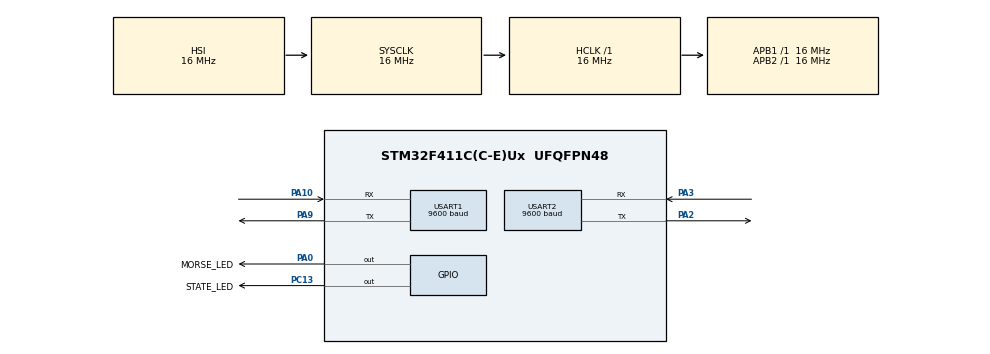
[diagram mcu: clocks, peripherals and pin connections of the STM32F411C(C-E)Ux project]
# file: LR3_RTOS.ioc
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Mcu.Family=STM32F4
Mcu.Name=STM32F411C(C-E)Ux
Mcu.Package=UFQFPN48
NVIC.PriorityGroup=NVIC_PRIORITYGROUP_4
PA0-WKUP.GPIO_Label=MORSE_LED
PA0-WKUP.Signal=GPIO_Output
PA10.Mode=Asynchronous
PA10.Signal=USART1_RX
PA2.Mode=Asynchronous
PA2.Signal=USART2_TX
PA3.Mode=Asynchronous
PA3.Signal=USART2_RX
PA9.Mode=Asynchronous
PA9.Signal=USART1_TX
PC13-ANTI_TAMP.GPIO_Label=STATE_LED
PC13-ANTI_TAMP.Signal=GPIO_Output
ProjectManager.HeapSize=0x200
ProjectManager.StackSize=0x400
ProjectManager.TargetToolchain=MDK-ARM V5.32
RCC.AHBFreq_Value=16000000
RCC.APB1Freq_Value=16000000
RCC.APB2Freq_Value=16000000
RCC.CortexFreq_Value=16000000
RCC.HSE_VALUE=25000000
RCC.HSI_VALUE=16000000
RCC.LSE_VALUE=32768
RCC.SYSCLKFreq_VALUE=16000000
RCC.VCOOutputFreq_Value=192000000
USART1.BaudRate=9600
USART1.VirtualMode=VM_ASYNC
USART2.BaudRate=9600
USART2.VirtualMode=VM_ASYNC
board=custom

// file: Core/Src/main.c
/* USER CODE BEGIN Header */

/*Лабораторна робота №3  Програмування порту USART (UART) мікроконтролера з
використанням бібліотек CMSIS на основі патерну «стан» з
урахуванням реального часу. */

	// Підключення: 1 GND - [-MORSE_LED+] - [резистор 325R] - PA0
    //              2 GND - [-STATE_LED+] - [резистор 325R] - PC13
	//              3 [USART2_TX] (PA2) - [USART1_RX] (PA10)
	//              4 [USART2_RX] (PA3) - [USART1_TX] (PA9)

/* USER CODE END Header */
#include "main.h"

/* USER CODE BEGIN PTD */

typedef enum {
    MORSE_IDLE,       // Очікування нового символу для обробки
    MORSE_NEXT_CHAR,	// Підготовка наступного елемента (точки чи тире) у символі
    MORSE_SIGNAL_ON,	// Стан, коли світлодіод світиться
    MORSE_SIGNAL_OFF, // Пауза між точками/тире всередині однієї літери
    MORSE_WAIT_LETTER // Пауза після завершення всієї літери
} MorseState_t;

/* USER CODE END PTD */

UART_HandleTypeDef huart1;
UART_HandleTypeDef huart2;

/* USER CODE BEGIN PV */
uint8_t msg[] = "Test2"; 		// Пауза після завершення всієї літери
uint8_t tx_index = 0;  			// Індекс поточного символу для передачі
uint32_t last_tx_time = 0;  // Змінна для відстеження часу останньої передачі

// Буфер для прийому
uint8_t rx_buffer[16];			// Кільцевий буфер для зберігання прийнятих байтів
uint8_t rx_read_ptr = 0;		// Вказівник читання з буфера
uint8_t rx_write_ptr = 0; 	// Вказівник запису в буфер

// Налаштування таймінгів Морзе (в мс)
#define UNIT 200 													 // Базова одиниця часу (200 мс) для азбуки Морзе
MorseState_t currentState = MORSE_IDLE;		 // Початковий стан автомата
char const *currentPattern = ""; 					 // Поточна послідовність точок/тире
uint8_t patternIdx = 0;									   // Яку саме точку чи тире ми зараз відтворюємо
uint32_t stateTimer = 0;									 // Таймер для відліку тривалості спалахів та пауз

/* USER CODE END PV */

void SystemClock_Config(void);
static void MX_GPIO_Init(void);
static void MX_USART1_UART_Init(void);
static void MX_USART2_UART_Init(void);

/* USER CODE BEGIN 0 */

/* Функція отримання кодів Морзе */
const char* GetMorseCode(char c) {
    switch (c) {
        case 'T': case 't': return "-";
        case 'E': case 'e': return ".";
        case 'S': case 's': return "...";
        case '2': return "..---";
        default: return "";
			/*при бажанні, можна додати весь алфавіт та цифри*/
    }
}

/* USER CODE END 0 */

int main(void)
{

  /* MCU Configuration--------------------------------------------------------*/

  /* Reset of all peripherals, Initializes the Flash interface and the Systick. */
  HAL_Init();

  /* Configure the system clock */
  SystemClock_Config();

  /* Initialize all configured peripherals */
  MX_GPIO_Init();
  MX_USART1_UART_Init();
  MX_USART2_UART_Init();

  /* Infinite loop */
  while (1)
  {

    /* USER CODE BEGIN 3 */

		/* --- 1. ПЕРЕДАЧА (USART2) за патерном Стан/Час --- */
        if (HAL_GetTick() - last_tx_time >= 500) {
            // Перевірка регістра стану (SR) через CMSIS: чи готовий передавач (TXE)
					if (USART2->SR & USART_SR_TXE) { // Прапор TXE показуэ чи порожній апаратний буфер передавача
                USART2->DR = msg[tx_index++]; // Запис у регістр даних
                if (tx_index >= sizeof(msg) - 1) { // Якщо передали весь рядок
                    tx_index = 0;	// Скидаємо індекс на початок
                    last_tx_time = HAL_GetTick(); // Пауза 500мс після всього рядка
                }
            }
        }

        /* --- 2. ПРИЙОМ (USART1) через CMSIS --- */
        // Перевірка чи прийшов байт (RXNE - Receive Not Empty)
        if (USART1->SR & USART_SR_RXNE) { // Якщо прапор RXNE = 1 (дані прийшли)
            uint8_t received = USART1->DR; // Зчитування з регістра даних автоматично скидає прапор RXNE, готуючи його до наступного символу.
            rx_buffer[rx_write_ptr++] = received; // Записуємо в наш буфер
            if (rx_write_ptr >= 16) rx_write_ptr = 0; // Зациклюємо буфер (кільцевий тип)
        }

        /* --- 3. АВТОМАТ СТАНІВ МОРЗЕ (PD13) --- */
        switch (currentState) {
            case MORSE_IDLE:
                if (rx_read_ptr != rx_write_ptr) { // Якщо в буфері є дані, беремо символ
                    HAL_GPIO_WritePin(STATE_LED_GPIO_Port, STATE_LED_Pin, GPIO_PIN_SET);

										char c = rx_buffer[rx_read_ptr++]; // Беремо символ
                    if (rx_read_ptr >= 16) rx_read_ptr = 0;
                    currentPattern = GetMorseCode(c); // Отримуємо код (напр. "...")
                    patternIdx = 0;
                    currentState = MORSE_NEXT_CHAR; // Переходимо до обробки літери
                }
                break;

            case MORSE_NEXT_CHAR:
                if (currentPattern[patternIdx] != '\0') { // Перевіряємо, чи є ще точки/тире в цій літері
                    HAL_GPIO_WritePin(MORSE_LED_GPIO_Port, MORSE_LED_Pin, GPIO_PIN_SET);
										stateTimer = HAL_GetTick(); // Фіксуємо час увімкнення
                    currentState = MORSE_SIGNAL_ON;
								} else { // Якщо літера закінчилась
									  stateTimer = HAL_GetTick(); // Скидаємо час
                    currentState = MORSE_WAIT_LETTER; // Та стан
                }
                break;

            case MORSE_SIGNAL_ON:
						{
                // Визначаємо тривалість: крапка = 1 UNIT, тире = 3 UNITs
                uint32_t duration = (currentPattern[patternIdx] == '.') ? UNIT : (UNIT * 3);
                if (HAL_GetTick() - stateTimer >= duration) {
                    HAL_GPIO_WritePin(MORSE_LED_GPIO_Port, MORSE_LED_Pin, GPIO_PIN_RESET);
                    stateTimer = HAL_GetTick();
                    currentState = MORSE_SIGNAL_OFF; // Режим паузи
                }
						}
            break;

            case MORSE_SIGNAL_OFF:
                // Пауза між сигналами однієї літери = 1 UNIT
                if (HAL_GetTick() - stateTimer >= UNIT) {
									patternIdx++; // Переходимо до наступної точки/тире
                    currentState = MORSE_NEXT_CHAR;
                }
                break;

            case MORSE_WAIT_LETTER:
                // Пауза між літерами = 3 UNITs
                if (HAL_GetTick() - stateTimer >= (UNIT * 3)) {
										if (rx_read_ptr == rx_write_ptr) {
												HAL_GPIO_WritePin(STATE_LED_GPIO_Port, STATE_LED_Pin, GPIO_PIN_RESET);
										}
                    currentState = MORSE_IDLE;
                }
                break;
        }

  }
  /* USER CODE END 3 */
}

void SystemClock_Config(void)
{
  RCC_OscInitTypeDef RCC_OscInitStruct = {0};
  RCC_ClkInitTypeDef RCC_ClkInitStruct = {0};

  /** Configure the main internal regulator output voltage
  */
  __HAL_RCC_PWR_CLK_ENABLE();
  __HAL_PWR_VOLTAGESCALING_CONFIG(PWR_REGULATOR_VOLTAGE_SCALE1);

  /** Initializes the RCC Oscillators according to the specified parameters
  * in the RCC_OscInitTypeDef structure.
  */
  RCC_OscInitStruct.OscillatorType = RCC_OSCILLATORTYPE_HSI;
  RCC_OscInitStruct.HSIState = RCC_HSI_ON;
  RCC_OscInitStruct.HSICalibrationValue = RCC_HSICALIBRATION_DEFAULT;
  RCC_OscInitStruct.PLL.PLLState = RCC_PLL_NONE;
  if (HAL_RCC_OscConfig(&RCC_OscInitStruct) != HAL_OK)
  {
    Error_Handler();
  }

  /** Initializes the CPU, AHB and APB buses clocks
  */
  RCC_ClkInitStruct.ClockType = RCC_CLOCKTYPE_HCLK|RCC_CLOCKTYPE_SYSCLK
                              |RCC_CLOCKTYPE_PCLK1|RCC_CLOCKTYPE_PCLK2;
  RCC_ClkInitStruct.SYSCLKSource = RCC_SYSCLKSOURCE_HSI;
  RCC_ClkInitStruct.AHBCLKDivider = RCC_SYSCLK_DIV1;
  RCC_ClkInitStruct.APB1CLKDivider = RCC_HCLK_DIV1;
  RCC_ClkInitStruct.APB2CLKDivider = RCC_HCLK_DIV1;

  if (HAL_RCC_ClockConfig(&RCC_ClkInitStruct, FLASH_LATENCY_0) != HAL_OK)
  {
    Error_Handler();
  }
}

static void MX_USART1_UART_Init(void)
{

  huart1.Instance = USART1;
  huart1.Init.BaudRate = 9600;
  huart1.Init.WordLength = UART_WORDLENGTH_8B;
  huart1.Init.StopBits = UART_STOPBITS_1;
  huart1.Init.Parity = UART_PARITY_NONE;
  huart1.Init.Mode = UART_MODE_TX_RX;
  huart1.Init.HwFlowCtl = UART_HWCONTROL_NONE;
  huart1.Init.OverSampling = UART_OVERSAMPLING_16;
  if (HAL_UART_Init(&huart1) != HAL_OK)
  {
    Error_Handler();
  }

}

static void MX_USART2_UART_Init(void)
{

  huart2.Instance = USART2;
  huart2.Init.BaudRate = 9600;
  huart2.Init.WordLength = UART_WORDLENGTH_8B;
  huart2.Init.StopBits = UART_STOPBITS_1;
  huart2.Init.Parity = UART_PARITY_NONE;
  huart2.Init.Mode = UART_MODE_TX_RX;
  huart2.Init.HwFlowCtl = UART_HWCONTROL_NONE;
  huart2.Init.OverSampling = UART_OVERSAMPLING_16;
  if (HAL_UART_Init(&huart2) != HAL_OK)
  {
    Error_Handler();
  }

}

static void MX_GPIO_Init(void)
{
  GPIO_InitTypeDef GPIO_InitStruct = {0};

  /* GPIO Ports Clock Enable */
  __HAL_RCC_GPIOC_CLK_ENABLE();
  __HAL_RCC_GPIOA_CLK_ENABLE();

  /*Configure GPIO pin Output Level */
  HAL_GPIO_WritePin(STATE_LED_GPIO_Port, STATE_LED_Pin, GPIO_PIN_RESET);

  /*Configure GPIO pin Output Level */
  HAL_GPIO_WritePin(MORSE_LED_GPIO_Port, MORSE_LED_Pin, GPIO_PIN_RESET);

  /*Configure GPIO pin : STATE_LED_Pin */
  GPIO_InitStruct.Pin = STATE_LED_Pin;
  GPIO_InitStruct.Mode = GPIO_MODE_OUTPUT_PP;
  GPIO_InitStruct.Pull = GPIO_NOPULL;
  GPIO_InitStruct.Speed = GPIO_SPEED_FREQ_LOW;
  HAL_GPIO_Init(STATE_LED_GPIO_Port, &GPIO_InitStruct);

  /*Configure GPIO pin : MORSE_LED_Pin */
  GPIO_InitStruct.Pin = MORSE_LED_Pin;
  GPIO_InitStruct.Mode = GPIO_MODE_OUTPUT_PP;
  GPIO_InitStruct.Pull = GPIO_NOPULL;
  GPIO_InitStruct.Speed = GPIO_SPEED_FREQ_LOW;
  HAL_GPIO_Init(MORSE_LED_GPIO_Port, &GPIO_InitStruct);

}

void Error_Handler(void)
{
  __disable_irq();
  while (1)
  {
  }
}
